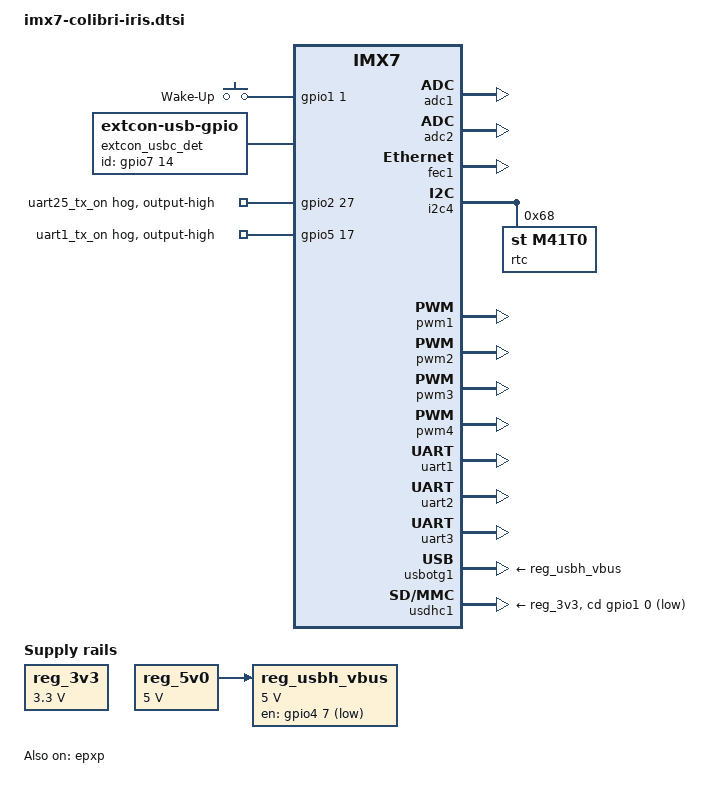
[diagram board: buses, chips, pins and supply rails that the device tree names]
// SPDX-License-Identifier: GPL-2.0+ OR MIT
/*
 * Copyright 2018-2020 Toradex
 */

#include <dt-bindings/input/input.h>

/ {
	chosen {
		bootargs = "console=ttymxc0,115200";
	};

	gpio-keys {
		compatible = "gpio-keys";
		pinctrl-names = "default";
		pinctrl-0 = <&pinctrl_gpiokeys>;

		power {
			label = "Wake-Up";
			gpios = <&gpio1 1 (GPIO_ACTIVE_HIGH | GPIO_PULL_DOWN)>;
			linux,code = <KEY_WAKEUP>;
			debounce-interval = <10>;
			gpio-key,wakeup;
		};
	};

	extcon_usbc_det: usbc_det {
		compatible = "linux,extcon-usb-gpio";
		debounce = <25>;
		id-gpio = <&gpio7 14 GPIO_ACTIVE_HIGH>;
		pinctrl-names = "default";
		pinctrl-0 = <&pinctrl_usbc_det>;
	};

	reg_usbh_vbus: regulator-usbh-vbus {
		compatible = "regulator-fixed";
		pinctrl-names = "default";
		pinctrl-0 = <&pinctrl_usbh_reg>;
		regulator-name = "VCC_USB[1-4]";
		regulator-min-microvolt = <5000000>;
		regulator-max-microvolt = <5000000>;
		gpio = <&gpio4 7 GPIO_ACTIVE_LOW>;
		vin-supply = <&reg_5v0>;
	};

	reg_3v3: regulator-3v3 {
		compatible = "regulator-fixed";
		regulator-name = "3.3V";
		regulator-min-microvolt = <3300000>;
		regulator-max-microvolt = <3300000>;
	};

	reg_5v0: regulator-5v0 {
		compatible = "regulator-fixed";
		regulator-name = "5V";
		regulator-min-microvolt = <5000000>;
		regulator-max-microvolt = <5000000>;
	};
};

&adc1 {
	status = "okay";
};

&adc2 {
	status = "okay";
};

&epxp {
	status = "okay";
};

&fec1 {
	status = "okay";
};

&i2c4 {
	status = "okay";

	/* M41T0M6 real time clock on carrier board */
	rtc: m41t0m6@68 {
		compatible = "st,m41t0";
		reg = <0x68>;
	};
};

&pwm1 {
	status = "okay";
};

&pwm2 {
	status = "okay";
};

&pwm3 {
	status = "okay";
};

&pwm4 {
	status = "okay";
};

&uart1 {
	status = "okay";
};

&uart2 {
	status = "okay";
};

&uart3 {
	status = "okay";
};

&usbotg1 {
	extcon = <&extcon_usbc_det>,  <&extcon_usbc_det>;
	vbus-supply = <&reg_usbh_vbus>;
	status = "okay";
};

&gpio2 {
	/*
	 * uart25 turns the UART transceiver for UART2 and 5 on. If one wants to
	 * turn the transceiver off, that property has to be deleted and the
	 * gpio handled in userspace.
	 * The same applies to uart1_tx_on where the UART transceiver is
	 * turned on.
	 */
	uart25_tx_on {
		gpio-hog;
		gpios = <27 0>; /* SODIMM 104 */
		output-high;
	};
};

&gpio5 {
	uart1_tx_on {
		gpio-hog;
		gpios = <17 0>; /* SODIMM 102 */
		output-high;
	};
};

/* The define SD_1_8 allows to use the SD interface at a higher speed mode
 * if the card supports it. For this the signaling voltage is switched from
 * 3.3V to 1.8V under the usdhc1's drivers control.
 * All pins supplied with NVCC_SD1 must be able to cope with this
 * and must (MUST!!!) not be driven with a voltage higher than 1.8V or
 * the interface will not work.
 */
#define SD_1_8
&usdhc1 {
#ifdef SD_1_8
	pinctrl-names = "default", "state_100mhz", "state_200mhz";
	pinctrl-0 = <&pinctrl_usdhc1 &pinctrl_cd_usdhc1>;
	pinctrl-1 = <&pinctrl_usdhc1_100mhz &pinctrl_cd_usdhc1>;
	pinctrl-2 = <&pinctrl_usdhc1_200mhz &pinctrl_cd_usdhc1>;
	vqmmc-supply = <&reg_LDO2>;
	sd-uhs-sdr12;
	sd-uhs-sdr25;
	sd-uhs-sdr50;
	sd-uhs-sdr104;
#else
	pinctrl-names = "default";
	pinctrl-0 = <&pinctrl_usdhc1 &pinctrl_cd_usdhc1>;
	no-1-8-v;
#endif
	cd-gpios = <&gpio1 0 GPIO_ACTIVE_LOW>;
	disable-wp;
	enable-sdio-wakeup;
	keep-power-in-suspend;
	wakeup-source;
	vmmc-supply = <&reg_3v3>;
	status = "okay";
};


